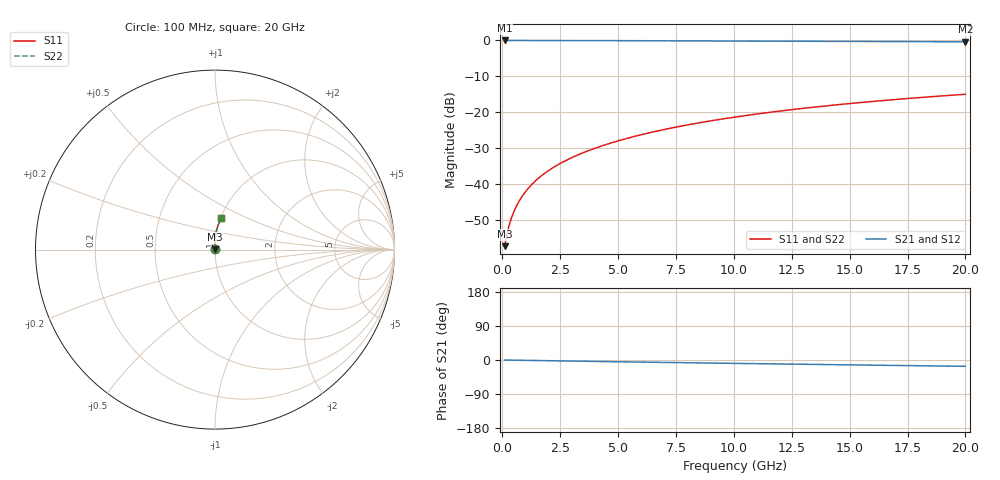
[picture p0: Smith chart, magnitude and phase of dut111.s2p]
! Touchstone file exported from HFSS 2024.1.0
!  File:  C:/UserFiles/LocalFiles/RDL_TSV_Batchsim/temp_RDL_top_111_1778683626.aedt
!  Generated:  10:49:18 PM May 13, 2026
!  Design:  RDL_top
!  Project:  temp_RDL_top_111_1778683626
!  Setup:  Setup1
!  Solution:  Sweep
! Variables:
!  dtsv = 10.80580581um
!  hbump = 3um
!  htsv = 66.41um
!  ldown = 100um
!  lrdl = 211.71um
!  p = 40
!  p1 = 48.78um
!  rhole = 1um
!  t = 450um
!  tdown = 3.915915916um
!  trdl = 3.77um
!  wdown = 15.38538539um
!  wrdl = 22.65um
# GHz S MA R 50.000000
! Terminal data exported
! Port[1] = Box2_T1
! Port[2] = Box2_T2
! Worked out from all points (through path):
!   200 points, 100 MHz to 20 GHz, reference 50 ohm
!   highest |S21| = -0.01 dB at 100 MHz (marker M1); lowest = -0.4 dB at 20 GHz (marker M2)
!   group delay of S21, straight-line fit = 2.3 ps
!   lowest |S11| = -57.2 dB at 100 MHz (marker M3), VSWR 1.00, Z = 50.1 + j0.0847 ohm
!   |S11| at or under -10 dB: start of sweep to end of sweep
!   |S22| runs from -57.2 to -15.0 dB; largest |S21 - S12| = 2.1e-15
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0.1  0.001376 37.9  0.9989 -0.1  0.9989 -0.1  0.001376 37.9
! Gamma 0 0 0 0
! Port Impedance 50 0 50 0
0.2  0.002011 55.6  0.9988 -0.2  0.9988 -0.2  0.002011 55.6
0.3  0.002714 64.1  0.9988 -0.3  0.9988 -0.3  0.002714 64.1
0.4  0.00343 69.1  0.9987 -0.4  0.9987 -0.4  0.00343 69.1
0.5  0.004152 72.5  0.9986 -0.5  0.9986 -0.5  0.004152 72.5
0.6  0.004882 75.0  0.9986 -0.6  0.9986 -0.6  0.004882 75.0
0.8  0.006358 78.5  0.9985 -0.8  0.9985 -0.8  0.006358 78.5
1.1  0.008607 81.7  0.9983 -1.1  0.9983 -1.1  0.008607 81.7
1.5  0.01165 84.2  0.9979 -1.5  0.9979 -1.5  0.01165 84.2
1.8  0.01397 85.4  0.9976 -1.7  0.9976 -1.7  0.01397 85.4
2.1  0.0163 86.3  0.9973 -2.0  0.9973 -2.0  0.0163 86.3
2.7  0.02104 87.5  0.9964 -2.6  0.9964 -2.6  0.02104 87.5
3.5  0.02751 88.5  0.9951 -3.3  0.9951 -3.3  0.02751 88.5
4.2  0.03331 89.0  0.9937 -4.0  0.9937 -4.0  0.03331 89.0
5  0.0401 89.3  0.992 -4.7  0.992 -4.7  0.0401 89.3
5.9  0.04794 89.4  0.99 -5.5  0.99 -5.5  0.04794 89.4
6.8  0.05596 89.2  0.9878 -6.3  0.9878 -6.3  0.05596 89.2
8.4  0.07057 88.5  0.984 -7.6  0.984 -7.6  0.07057 88.5
10.1  0.08641 87.3  0.98 -9.0  0.98 -9.0  0.08641 87.3
13.4  0.1175 84.6  0.9723 -11.6  0.9723 -11.6  0.1175 84.6
16.7  0.1483 81.6  0.9649 -14.2  0.9649 -14.2  0.1483 81.6
20  0.1784 78.6  0.9573 -16.7  0.9573 -16.7  0.1784 78.6
